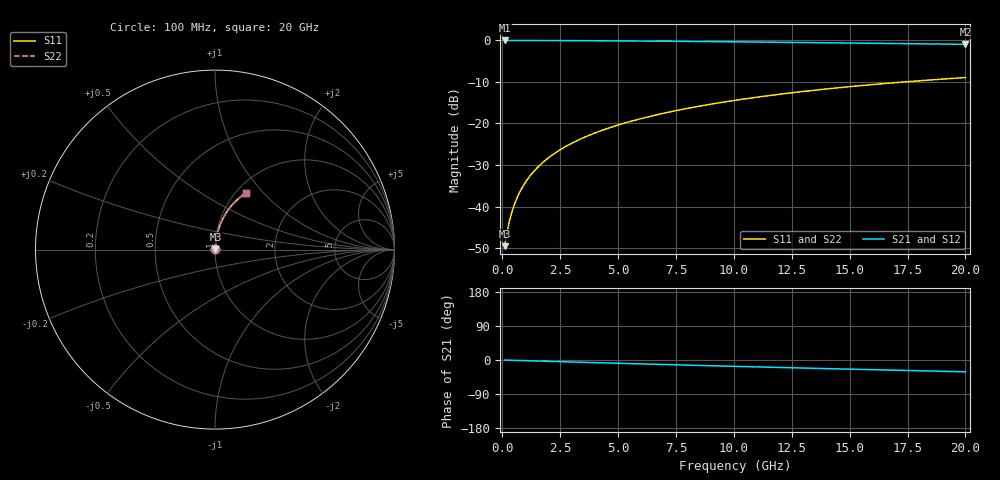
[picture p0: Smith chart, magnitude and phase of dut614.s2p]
! Touchstone file exported from HFSS 2024.1.0
!  File:  C:/UserFiles/LocalFiles/RDL_TSV_Batchsim/temp_RDL_top_614_1779779916.aedt
!  Generated:  03:21:00 PM May 26, 2026
!  Design:  RDL_top
!  Project:  temp_RDL_top_614_1779779916
!  Setup:  Setup1
!  Solution:  Sweep
! Variables:
!  dtsv = 10.80580581um
!  hbump = 3um
!  htsv = 72.24um
!  ldown = 100um
!  lrdl = 408.18um
!  p = 40
!  p1 = 42.84um
!  rhole = 1um
!  t = 450um
!  tdown = 3.915915916um
!  trdl = 4.65um
!  wdown = 15.38538539um
!  wrdl = 12um
# GHz S MA R 50.000000
! Terminal data exported
! Port[1] = Box2_T1
! Port[2] = Box2_T2
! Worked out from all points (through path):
!   200 points, 100 MHz to 20 GHz, reference 50 ohm
!   highest |S21| = -0.02 dB at 100 MHz (marker M1); lowest = -1.0 dB at 20 GHz (marker M2)
!   group delay of S21, straight-line fit = 4.31 ps
!   lowest |S11| = -49.5 dB at 100 MHz (marker M3), VSWR 1.01, Z = 50.3 + j0.201 ohm
!   |S11| at or under -10 dB: start of sweep to 17.37 GHz
!   |S22| runs from -49.5 to -8.9 dB; largest |S21 - S12| = 3e-15
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0.1  0.003335 36.9  0.9973 -0.2  0.9973 -0.2  0.003335 36.9
! Gamma 0 0 0 0
! Port Impedance 50 0 50 0
0.2  0.004816 55.4  0.9973 -0.4  0.9973 -0.4  0.004816 55.4
0.3  0.006527 64.5  0.9972 -0.5  0.9972 -0.5  0.006527 64.5
0.4  0.008322 69.8  0.9971 -0.7  0.9971 -0.7  0.008322 69.8
0.5  0.01016 73.2  0.997 -0.9  0.997 -0.9  0.01016 73.2
0.6  0.01203 75.5  0.9969 -1.1  0.9969 -1.1  0.01203 75.5
0.8  0.0158 78.4  0.9967 -1.4  0.9967 -1.4  0.0158 78.4
1.1  0.02151 80.7  0.9964 -2.0  0.9964 -2.0  0.02151 80.7
1.5  0.02915 82.1  0.9958 -2.7  0.9958 -2.7  0.02915 82.1
1.8  0.03489 82.5  0.9953 -3.2  0.9953 -3.2  0.03489 82.5
2.1  0.04063 82.8  0.9948 -3.7  0.9948 -3.7  0.04063 82.8
2.7  0.05208 82.8  0.9934 -4.8  0.9934 -4.8  0.05208 82.8
3.5  0.06729 82.4  0.9911 -6.1  0.9911 -6.1  0.06729 82.4
4.2  0.08056 81.8  0.9888 -7.3  0.9888 -7.3  0.08056 81.8
5  0.09569 81.0  0.9857 -8.7  0.9857 -8.7  0.09569 81.0
5.9  0.1127 80.1  0.9819 -10.2  0.9819 -10.2  0.1127 80.1
6.8  0.1296 79.0  0.9777 -11.7  0.9777 -11.7  0.1296 79.0
8.3  0.1576 77.2  0.9701 -14.1  0.9701 -14.1  0.1576 77.2
10.1  0.1907 74.9  0.9601 -16.9  0.9601 -16.9  0.1908 74.9
13.4  0.2497 70.4  0.94 -21.8  0.94 -21.8  0.2498 70.4
16.7  0.3054 65.9  0.9182 -26.6  0.9182 -26.6  0.3054 65.9
20  0.3568 61.4  0.8952 -31.1  0.8952 -31.1  0.3569 61.4
